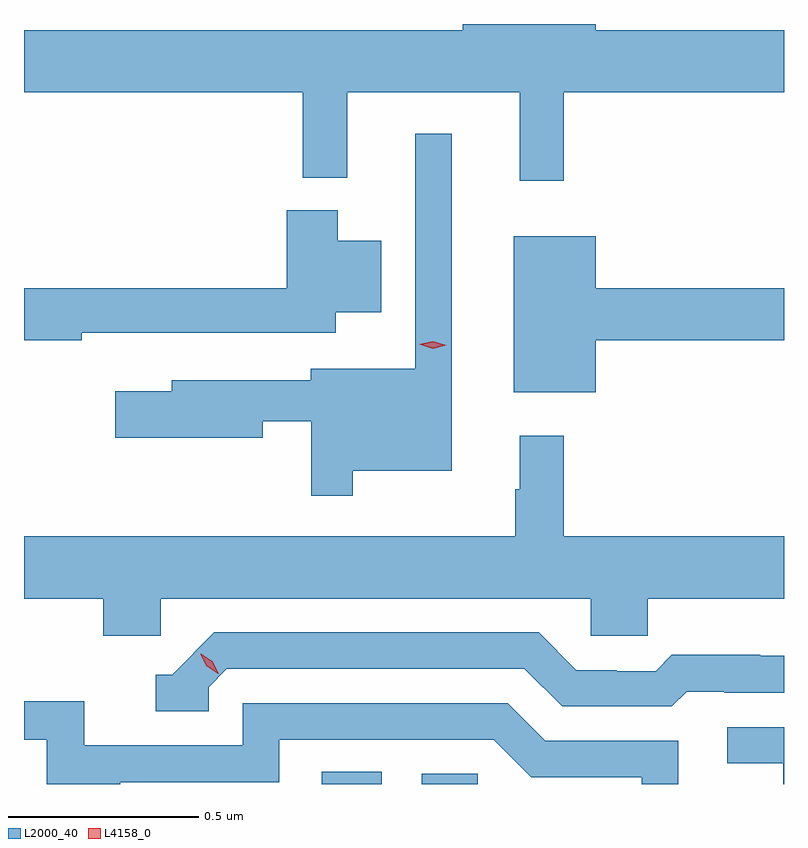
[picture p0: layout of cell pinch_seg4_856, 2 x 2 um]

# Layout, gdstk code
import gdstk
lib = gdstk.Library(unit=1e-6, precision=1e-09)
def R(c, l, rs):  # rectangles x0, y0, x1, y1
    for r in rs: c.add(gdstk.rectangle(r[:2], r[2:], *l))
def P(c, l, *ps):  # polygons
    for p in ps: c.add(gdstk.Polygon(p, *l))
L2000_40 = (2000, 40)
L4158_0 = (4158, 0)

pinch_seg4_856 = lib.new_cell('pinch_seg4_856')
R(pinch_seg4_856, L2000_40, [(876.501,796.332,876.66,796.364), (876.765,796.332,876.912,796.359)])
P(pinch_seg4_856, L2000_40, [(877.139,798.152),(877.718,798.152),(877.718,798.316),(877.222,798.316),(877.222,798.332),(876.872,798.332),(876.872,798.316),(875.718,798.316),(875.718,798.152),(876.451,798.152),(876.451,797.927),(876.569,797.927),(876.569,798.152),(877.022,798.152),(877.022,797.919),(877.139,797.919)],
  [(876.583,797.156),(876.844,797.156),(876.844,798.043),(876.747,798.043),(876.747,797.425),(876.473,797.425),(876.473,797.394),(876.107,797.394),(876.107,797.365),(875.958,797.365),(875.958,797.243),(876.346,797.243),(876.346,797.286),(876.474,797.286),(876.474,797.091),(876.583,797.091)],
  [(875.87,797.52),(876.538,797.52),(876.538,797.573),(876.658,797.573),(876.658,797.761),(876.544,797.761),(876.544,797.842),(876.41,797.842),(876.41,797.636),(875.718,797.636),(875.718,797.5),(875.87,797.5)],
  [(877.222,797.5),(877.718,797.5),(877.718,797.636),(877.222,797.636),(877.222,797.773),(877.007,797.773),(877.007,797.363),(877.222,797.363)],
  [(876.078,796.82),(877.209,796.82),(877.209,796.722),(877.359,796.722),(877.359,796.82),(877.718,796.82),(877.718,796.984),(877.139,796.984),(877.139,797.248),(877.022,797.248),(877.022,797.108),(877.011,797.108),(877.011,796.984),(875.718,796.984),(875.718,796.82),(875.927,796.82),(875.927,796.722),(876.078,796.722)],
  [(876.204,796.587),(876.252,796.635),(877.035,796.635),(877.134,796.536),(877.423,796.536),(877.462,796.575),(877.561,796.575),(877.561,796.572),(877.718,796.572),(877.718,796.669),(877.656,796.669),(877.656,796.672),(877.423,796.672),(877.381,796.629),(877.278,796.629),(877.278,796.632),(877.171,796.632),(877.072,796.731),(876.219,796.731),(876.108,796.62),(876.065,796.62),(876.065,796.524),(876.204,796.524)],
  [(875.971,796.337),(876.39,796.337),(876.39,796.449),(876.954,796.449),(877.053,796.35),(877.344,796.35),(877.344,796.332),(877.44,796.332),(877.44,796.446),(877.09,796.446),(876.991,796.545),(876.294,796.545),(876.294,796.434),(875.876,796.434),(875.876,796.55),(875.718,796.55),(875.718,796.448),(875.778,796.448),(875.778,796.332),(875.971,796.332)],
  [(877.718,796.482),(877.569,796.482),(877.569,796.386),(877.716,796.386),(877.716,796.332),(877.718,796.332)])
P(pinch_seg4_856, L4158_0, [(876.793,797.477),(876.758,797.489),(876.757,797.489),(876.758,797.489),(876.793,797.497),(876.829,797.486),(876.829,797.486),(876.829,797.486)],
  [(876.229,796.622),(876.199,796.642),(876.182,796.675),(876.182,796.675),(876.183,796.675),(876.214,796.655),(876.23,796.622),(876.23,796.622)])

lib.write_gds('pinch_seg4_856.gds')
